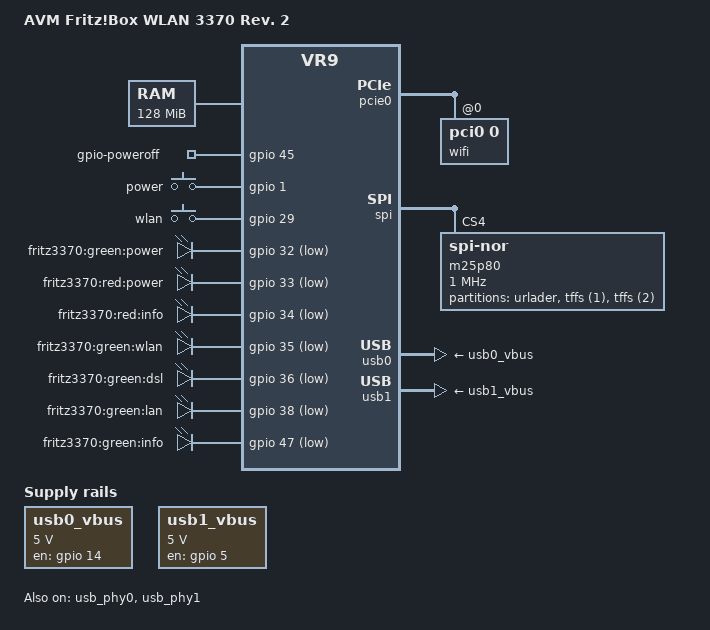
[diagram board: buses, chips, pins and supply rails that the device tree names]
#include "vr9.dtsi"

#include <dt-bindings/input/input.h>
#include <dt-bindings/mips/lantiq_rcu_gphy.h>

/ {
	compatible = "avm,fritz3370-rev2", "lantiq,xway", "lantiq,vr9";
	model = "AVM Fritz!Box WLAN 3370 Rev. 2";

	chosen {
		bootargs = "console=ttyLTQ0,115200";
	};

	aliases {
		led-boot = &power_green;
		led-failsafe = &power_red;
		led-running = &power_green;
		led-upgrade = &power_green;

		led-dsl = &dsl;
		led-internet = &info_green;
		led-wifi = &wifi;
	};

	memory@0 {
		reg = <0x0 0x8000000>;
	};

	gpio-poweroff {
		compatible = "gpio-poweroff";
		gpios = <&gpio 45 GPIO_ACTIVE_HIGH>;
	};

	gpio-keys-polled {
		compatible = "gpio-keys-polled";
		#address-cells = <1>;
		#size-cells = <0>;
		poll-interval = <100>;

		power {
			label = "power";
			gpios = <&gpio 1 GPIO_ACTIVE_HIGH>;
			linux,code = <KEY_POWER>;
		};

		wifi {
			label = "wlan";
			gpios = <&gpio 29 GPIO_ACTIVE_HIGH>;
			linux,code = <KEY_WLAN>;
		};
	};

	gpio-leds {
		compatible = "gpio-leds";

		power_green: power {
			label = "fritz3370:green:power";
			gpios = <&gpio 32 GPIO_ACTIVE_LOW>;
			default-state = "keep";
		};

		power_red: power2 {
			label = "fritz3370:red:power";
			gpios = <&gpio 33 GPIO_ACTIVE_LOW>;
		};

		info_red {
			label = "fritz3370:red:info";
			gpios = <&gpio 34 GPIO_ACTIVE_LOW>;
		};

		wifi: wifi {
			label = "fritz3370:green:wlan";
			gpios = <&gpio 35 GPIO_ACTIVE_LOW>;
		};

		dsl: dsl {
			label = "fritz3370:green:dsl";
			gpios = <&gpio 36 GPIO_ACTIVE_LOW>;
		};

		lan {
			label = "fritz3370:green:lan";
			gpios = <&gpio 38 GPIO_ACTIVE_LOW>;
		};

		info_green: info_green {
			label = "fritz3370:green:info";
			gpios = <&gpio 47 GPIO_ACTIVE_LOW>;
		};
	};

	usb0_vbus: regulator-usb0-vbus {
		compatible = "regulator-fixed";

		regulator-name = "USB0_VBUS";

		regulator-min-microvolt = <5000000>;
		regulator-max-microvolt = <5000000>;

		gpio = <&gpio 14 GPIO_ACTIVE_HIGH>;
		enable-active-high;
	};

	usb1_vbus: regulator-usb1-vbus {
		compatible = "regulator-fixed";

		regulator-name = "USB1_VBUS";

		regulator-min-microvolt = <5000000>;
		regulator-max-microvolt = <5000000>;

		gpio = <&gpio 5 GPIO_ACTIVE_HIGH>;
		enable-active-high;
	};
};

&gpio {
	pinctrl-names = "default";
	pinctrl-0 = <&state_default>;

	state_default: pinmux {
		mdio {
			lantiq,groups = "mdio";
			lantiq,function = "mdio";
		};

		nand {
			lantiq,groups = "nand cle", "nand ale",
					"nand rd", "nand cs1", "nand rdy";
			lantiq,function = "ebu";
			lantiq,pull = <1>;
		};

		phy-rst {
			lantiq,pins = "io37", "io44";
			lantiq,pull = <0>;
			lantiq,open-drain = <0>;
			lantiq,output = <1>;
		};

		pcie-rst {
			lantiq,pins = "io21";
			lantiq,pull = <0>;
			lantiq,output = <1>;
		};
	};

	pins_spi_default: pins_spi_default {
		spi_in {
			lantiq,groups = "spi_di";
			lantiq,function = "spi";
		};

		spi_out {
			lantiq,groups = "spi_do", "spi_clk",
				"spi_cs4";
			lantiq,function = "spi";
			lantiq,output = <1>;
		};
	};
};

&pcie0 {
	gpio-reset = <&gpio 21 GPIO_ACTIVE_HIGH>;

	pcie@0 {
		reg = <0 0 0 0 0>;
		#interrupt-cells = <1>;
		#size-cells = <2>;
		#address-cells = <3>;
		device_type = "pci";

		wifi@0,0 {
			compatible = "pci0,0";
			reg = <0 0 0 0 0>;
			qca,no-eeprom; /* load from ath9k-eeprom-pci-0000:01:00.0.bin */
		};
	};
};

&spi {
	status = "okay";

	pinctrl-names = "default";
	pinctrl-0 = <&pins_spi_default>;

	m25p80@4 {
		#address-cells = <1>;
		#size-cells = <1>;
		compatible = "jedec,spi-nor";
		reg = <4 0>;
		spi-max-frequency = <1000000>;

		urlader: partition@0 {
			reg = <0x0 0x20000>;
			label = "urlader";
			read-only;
		};

		partition@20000 {
			reg = <0x20000 0x10000>;
			label = "tffs (1)";
			read-only;
		};

		partition@30000 {
			reg = <0x30000 0x10000>;
			label = "tffs (2)";
			read-only;
		};
	};
};

&usb_phy0 {
	status = "okay";
};

&usb_phy1 {
	status = "okay";
};

&usb0 {
	status = "okay";
	vbus-supply = <&usb0_vbus>;
};

&usb1 {
	status = "okay";
	vbus-supply = <&usb1_vbus>;
};
